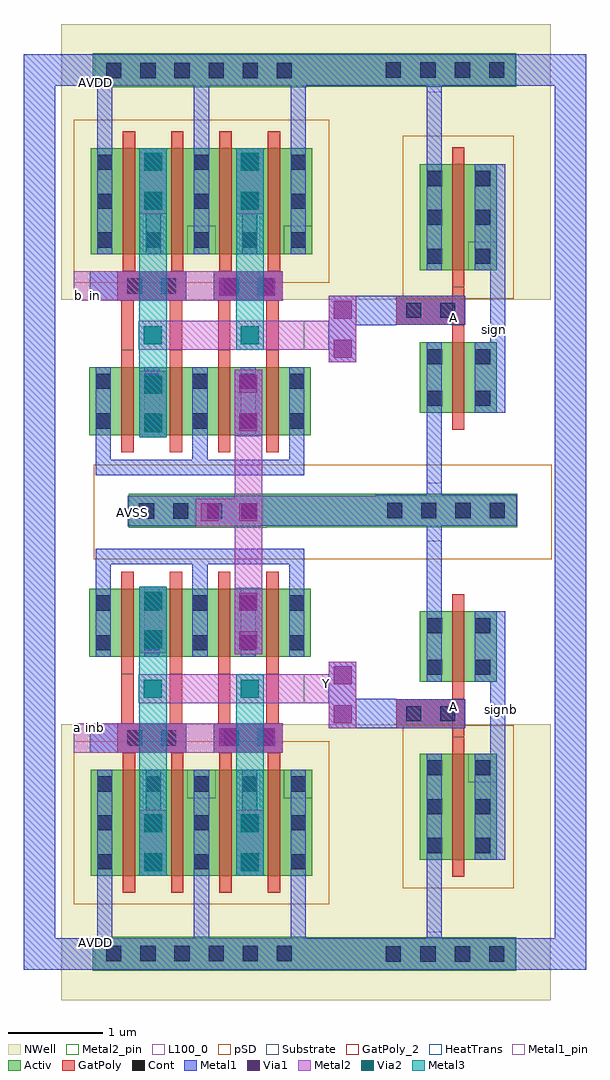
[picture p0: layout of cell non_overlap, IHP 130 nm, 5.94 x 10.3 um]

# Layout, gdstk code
import gdstk
lib = gdstk.Library(unit=1e-6, precision=1e-09)
def R(c, l, rs):  # rectangles x0, y0, x1, y1
    for r in rs: c.add(gdstk.rectangle(r[:2], r[2:], *l))
def A(c, l, x, y, w, h, nx, ny, dx, dy):  # array of equal rectangles
    R(c, l, [(x+i*dx, y+j*dy, x+i*dx+w, y+j*dy+h) for i in range(nx) for j in range(ny)])
Activ = (1, 0)
GatPoly = (5, 0)
GatPoly_2 = (5, 2)
Cont = (6, 0)
Metal1 = (8, 0)
Metal1_pin = (8, 2)
Metal2 = (10, 0)
Metal2_pin = (10, 2)
pSD = (14, 0)
Via1 = (19, 0)
Via2 = (29, 0)
Metal3 = (30, 0)
NWell = (31, 0)
Substrate = (40, 0)
HeatTrans = (51, 0)
L100_0 = (100, 0)

via_stack = lib.new_cell('via_stack')
R(via_stack, Metal1, [(-0.35,-0.145,0.35,0.145)])
R(via_stack, Metal2, [(-0.35,-0.145,0.35,0.145)])
R(via_stack, Via1, [(-0.3,-0.095,-0.11,0.095), (0.11,-0.095,0.3,0.095)])

via_stack_1 = lib.new_cell('via_stack$1')
R(via_stack_1, Metal1, [(-0.145,-0.35,0.145,0.35)])
R(via_stack_1, Metal2, [(-0.145,-0.35,0.145,0.35)])
R(via_stack_1, Via1, [(-0.095,-0.3,0.095,-0.11), (-0.095,0.11,0.095,0.3)])

via_stack_2 = lib.new_cell('via_stack$2')
R(via_stack_2, Metal1, [(-0.145,-0.35,0.145,0.35)])
R(via_stack_2, Metal2, [(-0.145,-0.35,0.145,0.35)])
R(via_stack_2, Via1, [(-0.095,-0.3,0.095,-0.11), (-0.095,0.11,0.095,0.3)])
R(via_stack_2, Via2, [(-0.095,-0.3,0.095,-0.11), (-0.095,0.11,0.095,0.3)])
R(via_stack_2, Metal3, [(-0.145,-0.35,0.145,0.35)])

via_stack_3 = lib.new_cell('via_stack$3')
R(via_stack_3, Metal2, [(-0.145,-0.145,0.145,0.145)])
R(via_stack_3, Via2, [(-0.095,-0.095,0.095,0.095)])
R(via_stack_3, Metal3, [(-0.145,-0.145,0.145,0.145)])

nmos = lib.new_cell('nmos')
A(nmos, Activ, 0, 0, 0.3, 0.3, 3, 1, 0.51, 0)
R(nmos, Activ, [(0,0,1.32,0.72)])
R(nmos, GatPoly, [(0.34,-0.18,0.47,0.9), (0.85,-0.18,0.98,0.9)])
R(nmos, GatPoly_2, [(0.34,-0.18,0.47,0.9)])
A(nmos, Cont, 0.07, 0.07, 0.16, 0.16, 3, 2, 0.51, 0.42)
A(nmos, Metal1, 0.07, 0, 0.16, 0.72, 3, 1, 0.51, 0)
R(nmos, Metal1_pin, [(0.07,0,0.23,0.72), (0.58,0,0.74,0.72)])
R(nmos, HeatTrans, [(0.34,-0.18,0.47,0.9), (0.85,-0.18,0.98,0.9)])
nmos.add(gdstk.Label('nmos', (0.405,0.36), layer=63, texttype=0))
nmos.add(gdstk.Label('nmos', (0.405,0.36), layer=51, texttype=0))
nmos.add(gdstk.Label('nmos', (0.915,0.36), layer=51, texttype=0))

pmos = lib.new_cell('pmos')
A(pmos, Activ, 0, 0, 0.3, 0.3, 3, 1, 0.51, 0)
R(pmos, Activ, [(0,0,1.32,1.12)])
R(pmos, GatPoly, [(0.34,-0.18,0.47,1.3), (0.34,-0.18,0.47,1.3), (0.85,-0.18,0.98,1.3)])
A(pmos, Cont, 0.07, 0.07, 0.16, 0.16, 3, 3, 0.51, 0.41)
R(pmos, Metal1, [(0.07,0,0.23,1.12), (0.07,0,0.23,1.12), (0.58,0,0.74,1.12), (0.58,0,0.74,1.12), (1.09,0,1.25,1.12)])
R(pmos, pSD, [(-0.18,-0.3,1.5,1.42)])
R(pmos, NWell, [(-0.31,-0.31,1.63,1.43)])
R(pmos, Substrate, [(1.02,0,1.32,0.3)])
R(pmos, HeatTrans, [(0.34,-0.18,0.47,1.3), (0.85,-0.18,0.98,1.3)])
pmos.add(gdstk.Label('pmos', (0.405,0.56), layer=63, texttype=0))
pmos.add(gdstk.Label('pmos', (0.405,0.56), layer=51, texttype=0))
pmos.add(gdstk.Label('pmos', (0.915,0.56), layer=51, texttype=0))

pmos_1 = lib.new_cell('pmos$1')
R(pmos_1, Activ, [(0,0,0.3,0.3), (0,0,0.81,1.12), (0.51,0,0.81,0.3)])
R(pmos_1, GatPoly, [(0.34,-0.18,0.47,1.3), (0.34,-0.18,0.47,1.3)])
A(pmos_1, Cont, 0.07, 0.07, 0.16, 0.16, 1, 3, 0, 0.41)
A(pmos_1, Cont, 0.58, 0.07, 0.16, 0.16, 1, 3, 0, 0.41)
R(pmos_1, Metal1, [(0.07,0,0.23,1.12), (0.07,0,0.23,1.12), (0.58,0,0.74,1.12), (0.58,0,0.74,1.12)])
R(pmos_1, pSD, [(-0.18,-0.3,0.99,1.42)])
R(pmos_1, NWell, [(-0.31,-0.31,1.12,1.43)])
R(pmos_1, Substrate, [(0.51,0,0.81,0.3)])
R(pmos_1, HeatTrans, [(0.34,-0.18,0.47,1.3)])
pmos_1.add(gdstk.Label('pmos', (0.405,0.56), layer=63, texttype=0))
pmos_1.add(gdstk.Label('pmos', (0.405,0.56), layer=51, texttype=0))

nmos_1 = lib.new_cell('nmos$1')
R(nmos_1, Activ, [(0,0,0.3,0.3), (0,0,0.81,0.74), (0.51,0,0.81,0.3)])
R(nmos_1, GatPoly, [(0.34,-0.18,0.47,0.92)])
R(nmos_1, GatPoly_2, [(0.34,-0.18,0.47,0.92)])
R(nmos_1, Cont, [(0.07,0.07,0.23,0.23), (0.58,0.07,0.74,0.23), (0.07,0.51,0.23,0.67), (0.58,0.51,0.74,0.67)])
R(nmos_1, Metal1, [(0.07,0,0.23,0.74), (0.58,0,0.74,0.74)])
R(nmos_1, Metal1_pin, [(0.07,0,0.23,0.74), (0.58,0,0.74,0.74)])
R(nmos_1, HeatTrans, [(0.34,-0.18,0.47,0.92)])
nmos_1.add(gdstk.Label('nmos', (0.405,0.37), layer=63, texttype=0))
nmos_1.add(gdstk.Label('nmos', (0.405,0.37), layer=51, texttype=0))

pmos_2 = lib.new_cell('pmos$2')
A(pmos_2, Activ, 0, 0, 0.3, 0.3, 3, 1, 0.51, 0)
R(pmos_2, Activ, [(0,0,1.32,1.12)])
R(pmos_2, GatPoly, [(0.34,-0.18,0.47,1.3), (0.34,-0.18,0.47,1.3), (0.85,-0.18,0.98,1.3)])
A(pmos_2, Cont, 0.07, 0.07, 0.16, 0.16, 3, 3, 0.51, 0.41)
R(pmos_2, Metal1, [(0.07,0,0.23,1.12), (0.07,0,0.23,1.12), (0.58,0,0.74,1.12), (0.58,0,0.74,1.12), (1.09,0,1.25,1.12)])
R(pmos_2, pSD, [(-0.18,-0.3,1.5,1.42)])
R(pmos_2, NWell, [(-0.31,-0.31,1.63,1.43)])
R(pmos_2, Substrate, [(1.02,0,1.32,0.3)])
R(pmos_2, HeatTrans, [(0.34,-0.18,0.47,1.3), (0.85,-0.18,0.98,1.3)])
pmos_2.add(gdstk.Label('pmos', (0.405,0.56), layer=63, texttype=0))
pmos_2.add(gdstk.Label('pmos', (0.405,0.56), layer=51, texttype=0))
pmos_2.add(gdstk.Label('pmos', (0.915,0.56), layer=51, texttype=0))

nmos_2 = lib.new_cell('nmos$2')
A(nmos_2, Activ, 0, 0, 0.3, 0.3, 3, 1, 0.51, 0)
R(nmos_2, Activ, [(0,0,1.32,0.72)])
R(nmos_2, GatPoly, [(0.34,-0.18,0.47,0.9), (0.85,-0.18,0.98,0.9)])
R(nmos_2, GatPoly_2, [(0.34,-0.18,0.47,0.9)])
A(nmos_2, Cont, 0.07, 0.07, 0.16, 0.16, 3, 2, 0.51, 0.42)
A(nmos_2, Metal1, 0.07, 0, 0.16, 0.72, 3, 1, 0.51, 0)
R(nmos_2, Metal1_pin, [(0.07,0,0.23,0.72), (0.58,0,0.74,0.72)])
R(nmos_2, HeatTrans, [(0.34,-0.18,0.47,0.9), (0.85,-0.18,0.98,0.9)])
nmos_2.add(gdstk.Label('nmos', (0.405,0.36), layer=63, texttype=0))
nmos_2.add(gdstk.Label('nmos', (0.405,0.36), layer=51, texttype=0))
nmos_2.add(gdstk.Label('nmos', (0.915,0.36), layer=51, texttype=0))

via_stack_4 = lib.new_cell('via_stack$4')
R(via_stack_4, Metal1, [(-0.35,-0.145,0.35,0.145)])
R(via_stack_4, Metal2, [(-0.35,-0.145,0.35,0.145)])
R(via_stack_4, Via1, [(-0.3,-0.095,-0.11,0.095), (0.11,-0.095,0.3,0.095)])

via_stack_6 = lib.new_cell('via_stack$6')
R(via_stack_6, Metal1, [(-0.145,-0.35,0.145,0.35)])
R(via_stack_6, Metal2, [(-0.145,-0.35,0.145,0.35)])
R(via_stack_6, Via1, [(-0.095,-0.3,0.095,-0.11), (-0.095,0.11,0.095,0.3)])
R(via_stack_6, Via2, [(-0.095,-0.3,0.095,-0.11), (-0.095,0.11,0.095,0.3)])
R(via_stack_6, Metal3, [(-0.145,-0.35,0.145,0.35)])

via_stack_7 = lib.new_cell('via_stack$7')
R(via_stack_7, Metal2, [(-0.145,-0.145,0.145,0.145)])
R(via_stack_7, Via2, [(-0.095,-0.095,0.095,0.095)])
R(via_stack_7, Metal3, [(-0.145,-0.145,0.145,0.145)])

via_stack_5 = lib.new_cell('via_stack$5')
R(via_stack_5, Metal1, [(-0.145,-0.35,0.145,0.35)])
R(via_stack_5, Metal2, [(-0.145,-0.35,0.145,0.35)])
R(via_stack_5, Via1, [(-0.095,-0.3,0.095,-0.11), (-0.095,0.11,0.095,0.3)])

non_overlap = lib.new_cell('non_overlap')
R(non_overlap, Activ, [(-0.425,-7.525,4.045,-7.175), (2.55,-7.525,4.045,-7.175), (-0.425,-7.52,1.83,-7.17), (-0.425,-7.52,1.83,-7.17), (-0.04,-2.85,0.33,-2.5), (-0.04,-2.85,0.33,-2.5), (0.32,-2.85,0.69,-2.5), (0.32,-2.85,0.69,-2.5), (0.68,-2.85,1.05,-2.5), (0.68,-2.85,1.05,-2.5), (1.04,-2.85,1.41,-2.5), (1.04,-2.85,1.41,-2.5), (-0.04,-2.845,4.055,-2.495), (2.555,-2.845,4.055,-2.495), (-0.425,1.8,1.83,2.15), (-0.425,1.8,1.83,2.15), (-0.425,1.805,4.045,2.155), (2.55,1.805,4.045,2.155)])
R(non_overlap, GatPoly, [(-0.165,-5.225,0.205,-4.915), (-0.165,-5.225,0.205,-4.915), (0.195,-5.225,0.565,-4.915), (0.195,-5.225,0.565,-4.915), (0.855,-5.225,1.225,-4.915), (0.855,-5.225,1.225,-4.915), (1.215,-5.225,1.585,-4.915), (1.215,-5.225,1.585,-4.915), (2.78,-4.965,3.149,-4.66), (2.78,-4.965,3.149,-4.66), (3.139,-4.965,3.51,-4.66), (3.139,-4.965,3.51,-4.66), (2.78,-0.71,3.149,-0.405), (2.78,-0.71,3.149,-0.405), (3.139,-0.71,3.51,-0.405), (3.139,-0.71,3.51,-0.405), (-0.165,-0.455,0.205,-0.145), (-0.165,-0.455,0.205,-0.145), (0.195,-0.455,0.565,-0.145), (0.195,-0.455,0.565,-0.145), (0.855,-0.455,1.225,-0.145), (0.855,-0.455,1.225,-0.145), (1.215,-0.455,1.585,-0.145), (1.215,-0.455,1.585,-0.145)])
R(non_overlap, GatPoly_2, [(3.37,-6.535,3.5,-3.555), (3.37,-6.535,3.5,-3.555), (3.37,-1.815,3.5,1.165), (3.37,-1.815,3.5,1.165)])
R(non_overlap, Cont, [(2.67,-7.43,2.83,-7.27), (2.67,-7.43,2.83,-7.27), (3.035,-7.43,3.195,-7.27), (3.035,-7.43,3.195,-7.27), (3.4,-7.43,3.56,-7.27), (3.4,-7.43,3.56,-7.27), (3.76,-7.43,3.92,-7.27), (3.76,-7.43,3.92,-7.27), (-0.28,-7.425,-0.12,-7.265), (-0.28,-7.425,-0.12,-7.265), (0.08,-7.425,0.24,-7.265), (0.08,-7.425,0.24,-7.265), (0.44,-7.425,0.6,-7.265), (0.44,-7.425,0.6,-7.265), (0.8,-7.425,0.96,-7.265), (0.8,-7.425,0.96,-7.265), (1.16,-7.425,1.32,-7.265), (1.16,-7.425,1.32,-7.265), (1.52,-7.425,1.68,-7.265), (1.52,-7.425,1.68,-7.265), (-0.06,-5.15,0.1,-4.99), (-0.06,-5.15,0.1,-4.99), (0.3,-5.15,0.46,-4.99), (0.3,-5.15,0.46,-4.99), (0.96,-5.15,1.12,-4.99), (0.96,-5.15,1.12,-4.99), (1.32,-5.15,1.48,-4.99), (1.32,-5.15,1.48,-4.99), (2.885,-4.895,3.045,-4.735), (2.885,-4.895,3.045,-4.735), (3.245,-4.895,3.405,-4.735), (3.245,-4.895,3.405,-4.735), (0.065,-2.755,0.225,-2.595), (0.065,-2.755,0.225,-2.595), (0.425,-2.755,0.585,-2.595), (0.425,-2.755,0.585,-2.595), (0.785,-2.755,0.945,-2.595), (0.785,-2.755,0.945,-2.595), (1.145,-2.755,1.305,-2.595), (1.145,-2.755,1.305,-2.595), (2.685,-2.75,2.845,-2.59), (2.685,-2.75,2.845,-2.59), (3.045,-2.75,3.205,-2.59), (3.045,-2.75,3.205,-2.59), (3.405,-2.75,3.565,-2.59), (3.405,-2.75,3.565,-2.59), (3.765,-2.75,3.925,-2.59), (3.765,-2.75,3.925,-2.59), (2.885,-0.635,3.045,-0.475), (2.885,-0.635,3.045,-0.475), (3.245,-0.635,3.405,-0.475), (3.245,-0.635,3.405,-0.475), (-0.06,-0.38,0.1,-0.22), (-0.06,-0.38,0.1,-0.22), (0.3,-0.38,0.46,-0.22), (0.3,-0.38,0.46,-0.22), (0.96,-0.38,1.12,-0.22), (0.96,-0.38,1.12,-0.22), (1.32,-0.38,1.48,-0.22), (1.32,-0.38,1.48,-0.22), (-0.28,1.895,-0.12,2.055), (-0.28,1.895,-0.12,2.055), (0.08,1.895,0.24,2.055), (0.08,1.895,0.24,2.055), (0.44,1.895,0.6,2.055), (0.44,1.895,0.6,2.055), (0.8,1.895,0.96,2.055), (0.8,1.895,0.96,2.055), (1.16,1.895,1.32,2.055), (1.16,1.895,1.32,2.055), (1.52,1.895,1.68,2.055), (1.52,1.895,1.68,2.055), (2.67,1.9,2.83,2.06), (2.67,1.9,2.83,2.06), (3.035,1.9,3.195,2.06), (3.035,1.9,3.195,2.06), (3.4,1.9,3.56,2.06), (3.4,1.9,3.56,2.06), (3.76,1.9,3.92,2.06), (3.76,1.9,3.92,2.06)])
R(non_overlap, Metal1, [(-0.4,-7.515,4.035,-7.185), (2.56,-7.515,4.035,-7.19), (-0.4,-7.505,1.825,-7.185), (-0.4,-7.505,1.825,-7.185), (3.77,-6.355,3.93,-3.735), (3.77,-6.355,3.93,-3.735), (-0.165,-5.225,0.205,-4.915), (-0.165,-5.225,0.205,-4.915), (0.195,-5.225,0.565,-4.915), (0.195,-5.225,0.565,-4.915), (0.855,-5.225,1.225,-4.915), (0.855,-5.225,1.225,-4.915), (1.215,-5.225,1.585,-4.915), (1.215,-5.225,1.585,-4.915), (2.78,-4.965,3.149,-4.66), (2.78,-4.965,3.149,-4.66), (3.139,-4.965,3.51,-4.66), (3.139,-4.965,3.51,-4.66), (-0.055,-2.835,0.345,-2.515), (-0.055,-2.835,0.345,-2.515), (0.305,-2.835,0.705,-2.515), (0.305,-2.835,0.705,-2.515), (0.665,-2.835,1.065,-2.515), (0.665,-2.835,1.065,-2.515), (-0.055,-2.83,4.05,-2.515), (1.025,-2.83,1.425,-2.515), (1.025,-2.83,1.425,-2.515), (2.565,-2.83,4.05,-2.505), (2.924,-2.83,3.324,-2.511), (2.924,-2.83,3.324,-2.511), (3.284,-2.83,3.684,-2.511), (3.284,-2.83,3.684,-2.511), (3.644,-2.83,4.045,-2.511), (3.644,-2.83,4.045,-2.511), (3.77,-1.635,3.93,0.985), (3.77,-1.635,3.93,0.985), (2.78,-0.71,3.149,-0.405), (2.78,-0.71,3.149,-0.405), (3.139,-0.71,3.51,-0.405), (3.139,-0.71,3.51,-0.405), (-0.165,-0.455,0.205,-0.145), (-0.165,-0.455,0.205,-0.145), (0.195,-0.455,0.565,-0.145), (0.195,-0.455,0.565,-0.145), (0.855,-0.455,1.225,-0.145), (0.855,-0.455,1.225,-0.145), (1.215,-0.455,1.585,-0.145), (1.215,-0.455,1.585,-0.145), (-0.4,1.815,1.825,2.135), (-0.4,1.815,1.825,2.135), (-0.4,1.82,4.035,2.145), (2.56,1.82,4.035,2.145)])
R(non_overlap, Metal1_pin, [(-0.4,-7.515,4.035,-7.185), (-0.4,-7.505,1.825,-7.185), (-0.4,-7.505,1.825,-7.185), (3.1,-7.119,3.26,-5.235), (3.1,-7.119,3.26,-5.235), (3.77,-6.355,3.93,-3.735), (3.77,-6.355,3.93,-3.735), (3.77,-6.354,3.93,-3.735), (3.77,-6.354,3.93,-3.735), (-0.45,-5.225,0.565,-4.915), (-0.45,-5.225,0.565,-4.915), (3.1,-4.474,3.26,-2.989), (3.1,-4.474,3.26,-2.989), (-0.055,-2.83,4.05,-2.515), (3.1,-2.381,3.26,-0.896), (3.1,-2.381,3.26,-0.896), (3.77,-1.635,3.93,0.984), (3.77,-1.635,3.93,0.984), (3.77,-1.635,3.93,0.985), (3.77,-1.635,3.93,0.985), (3.77,-1.635,3.93,0.985), (-0.45,-0.455,0.565,-0.145), (-0.45,-0.455,0.565,-0.145), (3.1,-0.135,3.26,1.749), (3.1,-0.135,3.26,1.749), (-0.4,1.815,1.825,2.135), (-0.4,1.815,1.825,2.135), (-0.4,1.82,4.035,2.145)])
R(non_overlap, Metal2_pin, [(-0.625,-5.225,-0.45,-4.915), (-0.625,-5.225,-0.45,-4.915), (1.805,-4.705,2.07,-4.395), (1.805,-4.705,2.07,-4.395), (1.805,-0.975,2.07,-0.665), (1.805,-0.975,2.07,-0.665), (-0.625,-0.455,-0.45,-0.145), (-0.625,-0.455,-0.45,-0.145)])
R(non_overlap, pSD, [(-0.41,-3.185,0.72,-2.185), (-0.41,-3.185,0.72,-2.185), (-0.41,-3.185,4.42,-2.185), (-0.41,-3.185,4.42,-2.185), (-0.41,-3.185,4.42,-2.185), (-0.41,-3.185,4.42,-2.185), (-0.05,-3.185,1.08,-2.185), (-0.05,-3.185,1.08,-2.185), (0.31,-3.185,1.44,-2.185), (0.31,-3.185,1.44,-2.185), (0.67,-3.185,1.8,-2.185), (0.67,-3.185,1.8,-2.185)])
R(non_overlap, NWell, [(-0.755,-7.835,2.205,-6.835), (-0.755,-7.835,2.205,-6.835), (-0.755,-7.835,4.41,-4.925), (-0.755,-7.835,4.41,-4.925), (-0.755,-0.445,4.41,2.465), (-0.755,-0.445,4.41,2.465), (-0.755,1.465,2.205,2.465), (-0.755,1.465,2.205,2.465)])
R(non_overlap, L100_0, [(3.108,-6.285,3.27,-6.123), (3.108,-6.285,3.27,-6.123), (3.108,-6.285,3.27,-6.123), (3.108,-6.285,3.27,-6.123), (3.618,-6.285,3.78,-6.123), (3.618,-6.285,3.78,-6.123), (3.618,-6.285,3.78,-6.123), (3.618,-6.285,3.78,-6.123), (3.108,-5.875,3.27,-5.713), (3.108,-5.875,3.27,-5.713), (3.108,-5.875,3.27,-5.713), (3.108,-5.875,3.27,-5.713), (3.618,-5.875,3.78,-5.713), (3.618,-5.875,3.78,-5.713), (3.618,-5.875,3.78,-5.713), (3.618,-5.875,3.78,-5.713), (3.108,-5.465,3.27,-5.303), (3.108,-5.465,3.27,-5.303), (3.108,-5.465,3.27,-5.303), (3.108,-5.465,3.27,-5.303), (3.618,-5.465,3.78,-5.303), (3.618,-5.465,3.78,-5.303), (3.618,-5.465,3.78,-5.303), (3.618,-5.465,3.78,-5.303), (3.108,-4.405,3.27,-4.243), (3.108,-4.405,3.27,-4.243), (3.108,-4.405,3.27,-4.243), (3.108,-4.405,3.27,-4.243), (3.618,-4.405,3.78,-4.243), (3.618,-4.405,3.78,-4.243), (3.618,-4.405,3.78,-4.243), (3.618,-4.405,3.78,-4.243), (3.108,-3.965,3.27,-3.803), (3.108,-3.965,3.27,-3.803), (3.108,-3.965,3.27,-3.803), (3.108,-3.965,3.27,-3.803), (3.618,-3.965,3.78,-3.803), (3.618,-3.965,3.78,-3.803), (3.618,-3.965,3.78,-3.803), (3.618,-3.965,3.78,-3.803), (3.108,-1.567,3.27,-1.405), (3.108,-1.567,3.27,-1.405), (3.108,-1.567,3.27,-1.405), (3.108,-1.567,3.27,-1.405), (3.618,-1.567,3.78,-1.405), (3.618,-1.567,3.78,-1.405), (3.618,-1.567,3.78,-1.405), (3.618,-1.567,3.78,-1.405), (3.108,-1.127,3.27,-0.965), (3.108,-1.127,3.27,-0.965), (3.108,-1.127,3.27,-0.965), (3.108,-1.127,3.27,-0.965), (3.618,-1.127,3.78,-0.965), (3.618,-1.127,3.78,-0.965), (3.618,-1.127,3.78,-0.965), (3.618,-1.127,3.78,-0.965), (3.108,-0.067,3.27,0.095), (3.108,-0.067,3.27,0.095), (3.108,-0.067,3.27,0.095), (3.108,-0.067,3.27,0.095), (3.618,-0.067,3.78,0.095), (3.618,-0.067,3.78,0.095), (3.618,-0.067,3.78,0.095), (3.618,-0.067,3.78,0.095), (3.108,0.343,3.27,0.505), (3.108,0.343,3.27,0.505), (3.108,0.343,3.27,0.505), (3.108,0.343,3.27,0.505), (3.618,0.343,3.78,0.505), (3.618,0.343,3.78,0.505), (3.618,0.343,3.78,0.505), (3.618,0.343,3.78,0.505), (3.108,0.753,3.27,0.915), (3.108,0.753,3.27,0.915), (3.108,0.753,3.27,0.915), (3.108,0.753,3.27,0.915), (3.618,0.753,3.78,0.915), (3.618,0.753,3.78,0.915), (3.618,0.753,3.78,0.915), (3.618,0.753,3.78,0.915)])
non_overlap.add(gdstk.FlexPath([(-0.055,-0.975),(-0.055,-0.445)], 0.13, ends="flush", simple_path=True, layer=5, datatype=0))  # GatPoly
non_overlap.add(gdstk.FlexPath([(0.455,-0.975),(0.455,-0.455)], 0.13, ends="flush", simple_path=True, layer=5, datatype=0))  # GatPoly
non_overlap.add(gdstk.FlexPath([(0.965,-0.975),(0.965,-0.445)], 0.13, ends="flush", simple_path=True, layer=5, datatype=0))  # GatPoly
non_overlap.add(gdstk.FlexPath([(1.475,-0.975),(1.475,-0.455)], 0.13, ends="flush", simple_path=True, layer=5, datatype=0))  # GatPoly
non_overlap.add(gdstk.FlexPath([(3.435,-0.715),(3.435,-0.31)], 0.13, ends="flush", simple_path=True, layer=5, datatype=0))  # GatPoly
non_overlap.add(gdstk.FlexPath([(3.435,-0.715),(3.435,-0.31)], 0.13, ends="flush", simple_path=True, layer=5, datatype=0))  # GatPoly
non_overlap.add(gdstk.FlexPath([(1.475,-0.975),(1.475,-0.455)], 0.13, ends="flush", simple_path=True, layer=5, datatype=0))  # GatPoly
non_overlap.add(gdstk.FlexPath([(0.965,-0.975),(0.965,-0.445)], 0.13, ends="flush", simple_path=True, layer=5, datatype=0))  # GatPoly
non_overlap.add(gdstk.FlexPath([(0.455,-0.975),(0.455,-0.455)], 0.13, ends="flush", simple_path=True, layer=5, datatype=0))  # GatPoly
non_overlap.add(gdstk.FlexPath([(-0.055,-0.975),(-0.055,-0.445)], 0.13, ends="flush", simple_path=True, layer=5, datatype=0))  # GatPoly
non_overlap.add(gdstk.FlexPath([(-0.055,-4.395),(-0.055,-4.925)], 0.13, ends="flush", simple_path=True, layer=5, datatype=0))  # GatPoly
non_overlap.add(gdstk.FlexPath([(0.455,-4.395),(0.455,-4.915)], 0.13, ends="flush", simple_path=True, layer=5, datatype=0))  # GatPoly
non_overlap.add(gdstk.FlexPath([(0.965,-4.395),(0.965,-4.925)], 0.13, ends="flush", simple_path=True, layer=5, datatype=0))  # GatPoly
non_overlap.add(gdstk.FlexPath([(1.475,-4.395),(1.475,-4.915)], 0.13, ends="flush", simple_path=True, layer=5, datatype=0))  # GatPoly
non_overlap.add(gdstk.FlexPath([(3.435,-4.655),(3.435,-5.06)], 0.13, ends="flush", simple_path=True, layer=5, datatype=0))  # GatPoly
non_overlap.add(gdstk.FlexPath([(3.435,-4.655),(3.435,-5.06)], 0.13, ends="flush", simple_path=True, layer=5, datatype=0))  # GatPoly
non_overlap.add(gdstk.FlexPath([(1.475,-4.395),(1.475,-4.915)], 0.13, ends="flush", simple_path=True, layer=5, datatype=0))  # GatPoly
non_overlap.add(gdstk.FlexPath([(0.965,-4.395),(0.965,-4.925)], 0.13, ends="flush", simple_path=True, layer=5, datatype=0))  # GatPoly
non_overlap.add(gdstk.FlexPath([(0.455,-4.395),(0.455,-4.915)], 0.13, ends="flush", simple_path=True, layer=5, datatype=0))  # GatPoly
non_overlap.add(gdstk.FlexPath([(-0.055,-4.395),(-0.055,-4.925)], 0.13, ends="flush", simple_path=True, layer=5, datatype=0))  # GatPoly
non_overlap.add(gdstk.FlexPath([(-0.4,-7.35),(-0.985,-7.35),(-0.985,1.98),(-0.4,1.98)], 0.33, ends="flush", simple_path=True, layer=8, datatype=0))  # Metal1
non_overlap.add(gdstk.FlexPath([(4.035,-7.35),(4.62,-7.35),(4.62,1.98),(-0.755,1.98)], 0.33, ends="flush", simple_path=True, layer=8, datatype=0))  # Metal1
non_overlap.add(gdstk.FlexPath([(0.565,-0.3),(-0.45,-0.3)], 0.31, ends="flush", simple_path=True, layer=8, datatype=0))  # Metal1
non_overlap.add(gdstk.FlexPath([(-0.295,0.035),(-0.295,2.135)], 0.16, ends="flush", simple_path=True, layer=8, datatype=0))  # Metal1
non_overlap.add(gdstk.FlexPath([(0.725,0.035),(0.725,2.135)], 0.16, ends="flush", simple_path=True, layer=8, datatype=0))  # Metal1
non_overlap.add(gdstk.FlexPath([(1.745,0.035),(1.745,2.135)], 0.16, ends="flush", simple_path=True, layer=8, datatype=0))  # Metal1
non_overlap.add(gdstk.FlexPath([(-0.39,-2.215),(1.81,-2.215)], 0.16, ends="flush", simple_path=True, layer=8, datatype=0))  # Metal1
non_overlap.add(gdstk.FlexPath([(1.73,-1.875),(1.73,-2.295)], 0.16, ends="flush", simple_path=True, layer=8, datatype=0))  # Metal1
non_overlap.add(gdstk.FlexPath([(0.71,-1.875),(0.71,-2.295)], 0.16, ends="flush", simple_path=True, layer=8, datatype=0))  # Metal1
non_overlap.add(gdstk.FlexPath([(-0.31,-1.875),(-0.31,-2.295)], 0.16, ends="flush", simple_path=True, layer=8, datatype=0))  # Metal1
non_overlap.add(gdstk.FlexPath([(3.18,-2.38),(3.18,-2.83)], 0.16, ends="flush", simple_path=True, layer=8, datatype=0))  # Metal1
non_overlap.add(gdstk.FlexPath([(3.18,1.75),(3.18,0.985)], 0.16, ends="flush", simple_path=True, layer=8, datatype=0))  # Metal1
non_overlap.add(gdstk.FlexPath([(3.18,-1.615),(3.18,-2.38)], 0.16, ends="flush", simple_path=True, layer=8, datatype=0))  # Metal1
non_overlap.add(gdstk.FlexPath([(3.18,-1.615),(3.18,-2.38)], 0.16, ends="flush", simple_path=True, layer=8, datatype=0))  # Metal1
non_overlap.add(gdstk.FlexPath([(3.18,1.735),(3.18,2.1)], 0.16, ends="flush", simple_path=True, layer=8, datatype=0))  # Metal1
non_overlap.add(gdstk.FlexPath([(3.18,1.735),(3.18,2.1)], 0.16, ends="flush", simple_path=True, layer=8, datatype=0))  # Metal1
non_overlap.add(gdstk.FlexPath([(3.18,-1.615),(3.18,-2.38)], 0.16, ends="flush", simple_path=True, layer=8, datatype=0))  # Metal1
non_overlap.add(gdstk.FlexPath([(3.18,-1.615),(3.18,-2.38)], 0.16, ends="flush", simple_path=True, layer=8, datatype=0))  # Metal1
non_overlap.add(gdstk.FlexPath([(3.18,1.75),(3.18,0.985)], 0.16, ends="flush", simple_path=True, layer=8, datatype=0))  # Metal1
non_overlap.add(gdstk.FlexPath([(3.18,-2.38),(3.18,-2.83)], 0.16, ends="flush", simple_path=True, layer=8, datatype=0))  # Metal1
non_overlap.add(gdstk.FlexPath([(-0.31,-1.875),(-0.31,-2.295)], 0.16, ends="flush", simple_path=True, layer=8, datatype=0))  # Metal1
non_overlap.add(gdstk.FlexPath([(0.71,-1.875),(0.71,-2.295)], 0.16, ends="flush", simple_path=True, layer=8, datatype=0))  # Metal1
non_overlap.add(gdstk.FlexPath([(1.73,-1.875),(1.73,-2.295)], 0.16, ends="flush", simple_path=True, layer=8, datatype=0))  # Metal1
non_overlap.add(gdstk.FlexPath([(-0.39,-2.215),(1.81,-2.215)], 0.16, ends="flush", simple_path=True, layer=8, datatype=0))  # Metal1
non_overlap.add(gdstk.FlexPath([(1.745,0.035),(1.745,2.135)], 0.16, ends="flush", simple_path=True, layer=8, datatype=0))  # Metal1
non_overlap.add(gdstk.FlexPath([(0.725,0.035),(0.725,2.135)], 0.16, ends="flush", simple_path=True, layer=8, datatype=0))  # Metal1
non_overlap.add(gdstk.FlexPath([(-0.295,0.035),(-0.295,2.135)], 0.16, ends="flush", simple_path=True, layer=8, datatype=0))  # Metal1
non_overlap.add(gdstk.FlexPath([(0.565,-0.3),(-0.45,-0.3)], 0.31, ends="flush", simple_path=True, layer=8, datatype=0))  # Metal1
non_overlap.add(gdstk.FlexPath([(0.565,-5.07),(-0.45,-5.07)], 0.31, ends="flush", simple_path=True, layer=8, datatype=0))  # Metal1
non_overlap.add(gdstk.FlexPath([(-0.295,-5.405),(-0.295,-7.505)], 0.16, ends="flush", simple_path=True, layer=8, datatype=0))  # Metal1
non_overlap.add(gdstk.FlexPath([(0.725,-5.405),(0.725,-7.505)], 0.16, ends="flush", simple_path=True, layer=8, datatype=0))  # Metal1
non_overlap.add(gdstk.FlexPath([(1.745,-5.405),(1.745,-7.505)], 0.16, ends="flush", simple_path=True, layer=8, datatype=0))  # Metal1
non_overlap.add(gdstk.FlexPath([(-0.39,-3.155),(1.81,-3.155)], 0.16, ends="flush", simple_path=True, layer=8, datatype=0))  # Metal1
non_overlap.add(gdstk.FlexPath([(1.73,-3.495),(1.73,-3.075)], 0.16, ends="flush", simple_path=True, layer=8, datatype=0))  # Metal1
non_overlap.add(gdstk.FlexPath([(0.71,-3.495),(0.71,-3.075)], 0.16, ends="flush", simple_path=True, layer=8, datatype=0))  # Metal1
non_overlap.add(gdstk.FlexPath([(-0.31,-3.495),(-0.31,-3.075)], 0.16, ends="flush", simple_path=True, layer=8, datatype=0))  # Metal1
non_overlap.add(gdstk.FlexPath([(3.18,-2.99),(3.18,-2.54)], 0.16, ends="flush", simple_path=True, layer=8, datatype=0))  # Metal1
non_overlap.add(gdstk.FlexPath([(3.18,-7.12),(3.18,-6.355)], 0.16, ends="flush", simple_path=True, layer=8, datatype=0))  # Metal1
non_overlap.add(gdstk.FlexPath([(3.18,-3.755),(3.18,-2.99)], 0.16, ends="flush", simple_path=True, layer=8, datatype=0))  # Metal1
non_overlap.add(gdstk.FlexPath([(3.18,-3.755),(3.18,-2.99)], 0.16, ends="flush", simple_path=True, layer=8, datatype=0))  # Metal1
non_overlap.add(gdstk.FlexPath([(3.18,-7.105),(3.18,-7.47)], 0.16, ends="flush", simple_path=True, layer=8, datatype=0))  # Metal1
non_overlap.add(gdstk.FlexPath([(3.18,-7.105),(3.18,-7.47)], 0.16, ends="flush", simple_path=True, layer=8, datatype=0))  # Metal1
non_overlap.add(gdstk.FlexPath([(3.18,-3.755),(3.18,-2.99)], 0.16, ends="flush", simple_path=True, layer=8, datatype=0))  # Metal1
non_overlap.add(gdstk.FlexPath([(3.18,-3.755),(3.18,-2.99)], 0.16, ends="flush", simple_path=True, layer=8, datatype=0))  # Metal1
non_overlap.add(gdstk.FlexPath([(3.18,-7.12),(3.18,-6.355)], 0.16, ends="flush", simple_path=True, layer=8, datatype=0))  # Metal1
non_overlap.add(gdstk.FlexPath([(3.18,-2.99),(3.18,-2.54)], 0.16, ends="flush", simple_path=True, layer=8, datatype=0))  # Metal1
non_overlap.add(gdstk.FlexPath([(-0.31,-3.495),(-0.31,-3.075)], 0.16, ends="flush", simple_path=True, layer=8, datatype=0))  # Metal1
non_overlap.add(gdstk.FlexPath([(0.71,-3.495),(0.71,-3.075)], 0.16, ends="flush", simple_path=True, layer=8, datatype=0))  # Metal1
non_overlap.add(gdstk.FlexPath([(1.73,-3.495),(1.73,-3.075)], 0.16, ends="flush", simple_path=True, layer=8, datatype=0))  # Metal1
non_overlap.add(gdstk.FlexPath([(-0.39,-3.155),(1.81,-3.155)], 0.16, ends="flush", simple_path=True, layer=8, datatype=0))  # Metal1
non_overlap.add(gdstk.FlexPath([(1.745,-5.405),(1.745,-7.505)], 0.16, ends="flush", simple_path=True, layer=8, datatype=0))  # Metal1
non_overlap.add(gdstk.FlexPath([(0.725,-5.405),(0.725,-7.505)], 0.16, ends="flush", simple_path=True, layer=8, datatype=0))  # Metal1
non_overlap.add(gdstk.FlexPath([(-0.295,-5.405),(-0.295,-7.505)], 0.16, ends="flush", simple_path=True, layer=8, datatype=0))  # Metal1
non_overlap.add(gdstk.FlexPath([(0.565,-5.07),(-0.45,-5.07)], 0.31, ends="flush", simple_path=True, layer=8, datatype=0))  # Metal1
non_overlap.add(gdstk.FlexPath([(2.78,-0.56),(2.07,-0.56)], 0.31, ends="flush", simple_path=True, layer=8, datatype=0))  # Metal1
non_overlap.add(gdstk.FlexPath([(2.78,-4.81),(2.07,-4.81)], 0.31, ends="flush", simple_path=True, layer=8, datatype=0))  # Metal1
non_overlap.add(gdstk.FlexPath([(1.585,-0.3),(-0.625,-0.3)], 0.31, ends="flush", simple_path=True, layer=10, datatype=0))  # Metal2
non_overlap.add(gdstk.FlexPath([(2.07,-0.82),(0.065,-0.82)], 0.31, ends="flush", simple_path=True, layer=10, datatype=0))  # Metal2
non_overlap.add(gdstk.FlexPath([(1.22,-1.185),(1.22,-2.835)], 0.29, ends="flush", simple_path=True, layer=10, datatype=0))  # Metal2
non_overlap.add(gdstk.FlexPath([(1.22,-1.185),(1.22,-2.835)], 0.29, ends="flush", simple_path=True, layer=10, datatype=0))  # Metal2
non_overlap.add(gdstk.FlexPath([(2.07,-0.82),(0.065,-0.82)], 0.31, ends="flush", simple_path=True, layer=10, datatype=0))  # Metal2
non_overlap.add(gdstk.FlexPath([(1.585,-0.3),(-0.625,-0.3)], 0.31, ends="flush", simple_path=True, layer=10, datatype=0))  # Metal2
non_overlap.add(gdstk.FlexPath([(1.585,-5.07),(-0.625,-5.07)], 0.31, ends="flush", simple_path=True, layer=10, datatype=0))  # Metal2
non_overlap.add(gdstk.FlexPath([(2.07,-4.55),(0.065,-4.55)], 0.31, ends="flush", simple_path=True, layer=10, datatype=0))  # Metal2
non_overlap.add(gdstk.FlexPath([(1.22,-4.185),(1.22,-2.535)], 0.29, ends="flush", simple_path=True, layer=10, datatype=0))  # Metal2
non_overlap.add(gdstk.FlexPath([(1.22,-4.185),(1.22,-2.535)], 0.29, ends="flush", simple_path=True, layer=10, datatype=0))  # Metal2
non_overlap.add(gdstk.FlexPath([(2.07,-4.55),(0.065,-4.55)], 0.31, ends="flush", simple_path=True, layer=10, datatype=0))  # Metal2
non_overlap.add(gdstk.FlexPath([(1.585,-5.07),(-0.625,-5.07)], 0.31, ends="flush", simple_path=True, layer=10, datatype=0))  # Metal2
non_overlap.add(gdstk.FlexPath([(0.215,1.155),(0.215,-0.975)], 0.29, ends="flush", simple_path=True, layer=30, datatype=0))  # Metal3
non_overlap.add(gdstk.FlexPath([(1.235,1.155),(1.235,-0.975)], 0.29, ends="flush", simple_path=True, layer=30, datatype=0))  # Metal3
non_overlap.add(gdstk.FlexPath([(0.215,-1.875),(0.215,-0.665)], 0.29, ends="flush", simple_path=True, layer=30, datatype=0))  # Metal3
non_overlap.add(gdstk.FlexPath([(0.215,-1.875),(0.215,-0.665)], 0.29, ends="flush", simple_path=True, layer=30, datatype=0))  # Metal3
non_overlap.add(gdstk.FlexPath([(1.235,1.155),(1.235,-0.975)], 0.29, ends="flush", simple_path=True, layer=30, datatype=0))  # Metal3
non_overlap.add(gdstk.FlexPath([(0.215,1.155),(0.215,-0.975)], 0.29, ends="flush", simple_path=True, layer=30, datatype=0))  # Metal3
non_overlap.add(gdstk.FlexPath([(0.215,-6.525),(0.215,-4.395)], 0.29, ends="flush", simple_path=True, layer=30, datatype=0))  # Metal3
non_overlap.add(gdstk.FlexPath([(1.235,-6.525),(1.235,-4.395)], 0.29, ends="flush", simple_path=True, layer=30, datatype=0))  # Metal3
non_overlap.add(gdstk.FlexPath([(0.215,-3.495),(0.215,-4.705)], 0.29, ends="flush", simple_path=True, layer=30, datatype=0))  # Metal3
non_overlap.add(gdstk.FlexPath([(0.215,-3.495),(0.215,-4.705)], 0.29, ends="flush", simple_path=True, layer=30, datatype=0))  # Metal3
non_overlap.add(gdstk.FlexPath([(1.235,-6.525),(1.235,-4.395)], 0.29, ends="flush", simple_path=True, layer=30, datatype=0))  # Metal3
non_overlap.add(gdstk.FlexPath([(0.215,-6.525),(0.215,-4.395)], 0.29, ends="flush", simple_path=True, layer=30, datatype=0))  # Metal3
non_overlap.add(gdstk.Reference(via_stack, (1.015,-2.69)))
non_overlap.add(gdstk.Reference(via_stack_1, (1.22,-1.535)))
non_overlap.add(gdstk.Reference(via_stack_2, (0.215,-1.545)))
non_overlap.add(gdstk.Reference(via_stack_3, (0.21,-0.82)))
non_overlap.add(gdstk.Reference(via_stack_3, (1.235,-0.82)))
non_overlap.add(gdstk.Reference(via_stack_2, (1.235,0.805)))
non_overlap.add(gdstk.Reference(via_stack_2, (0.215,0.805)))
non_overlap.add(gdstk.Reference(via_stack, (1.205,-0.31)))
non_overlap.add(gdstk.Reference(nmos, (0.56,-1.875)))
non_overlap.add(gdstk.Reference(pmos, (0.575,0.035)))
non_overlap.add(gdstk.Reference(nmos, (-0.46,-1.875)))
non_overlap.add(gdstk.Reference(pmos, (-0.445,0.035)))
non_overlap.add(gdstk.Reference(pmos, (-0.445,0.035)))
non_overlap.add(gdstk.Reference(pmos_1, (3.03,-0.135)))
non_overlap.add(gdstk.Reference(nmos_1, (3.03,-1.635)))
non_overlap.add(gdstk.Reference(nmos_1, (3.03,-1.635)))
non_overlap.add(gdstk.Reference(pmos_1, (3.03,-0.135)))
non_overlap.add(gdstk.Reference(pmos_2, (-0.445,0.035)))
non_overlap.add(gdstk.Reference(pmos_2, (-0.445,0.035)))
non_overlap.add(gdstk.Reference(nmos_2, (-0.46,-1.875)))
non_overlap.add(gdstk.Reference(pmos_2, (0.575,0.035)))
non_overlap.add(gdstk.Reference(nmos_2, (0.56,-1.875)))
non_overlap.add(gdstk.Reference(via_stack_4, (1.205,-0.31)))
non_overlap.add(gdstk.Reference(via_stack_6, (0.215,0.805)))
non_overlap.add(gdstk.Reference(via_stack_6, (1.235,0.805)))
non_overlap.add(gdstk.Reference(via_stack_7, (1.235,-0.82)))
non_overlap.add(gdstk.Reference(via_stack_7, (0.21,-0.82)))
non_overlap.add(gdstk.Reference(via_stack_6, (0.215,-1.545)))
non_overlap.add(gdstk.Reference(via_stack_5, (1.22,-1.535)))
non_overlap.add(gdstk.Reference(via_stack_4, (1.015,-2.69)))
non_overlap.add(gdstk.Reference(via_stack_5, (2.215,-0.755)))
non_overlap.add(gdstk.Reference(via_stack_5, (1.22,-3.835), x_reflection=True))
non_overlap.add(gdstk.Reference(via_stack_6, (0.215,-3.825), x_reflection=True))
non_overlap.add(gdstk.Reference(via_stack_7, (0.21,-4.55), x_reflection=True))
non_overlap.add(gdstk.Reference(via_stack_7, (1.235,-4.55), x_reflection=True))
non_overlap.add(gdstk.Reference(via_stack_6, (1.235,-6.175), x_reflection=True))
non_overlap.add(gdstk.Reference(via_stack_6, (0.215,-6.175), x_reflection=True))
non_overlap.add(gdstk.Reference(via_stack_4, (1.205,-5.06), x_reflection=True))
non_overlap.add(gdstk.Reference(nmos_2, (0.56,-3.495), x_reflection=True))
non_overlap.add(gdstk.Reference(pmos_2, (0.575,-5.405), x_reflection=True))
non_overlap.add(gdstk.Reference(nmos_2, (-0.46,-3.495), x_reflection=True))
non_overlap.add(gdstk.Reference(pmos_2, (-0.445,-5.405), x_reflection=True))
non_overlap.add(gdstk.Reference(pmos_2, (-0.445,-5.405), x_reflection=True))
non_overlap.add(gdstk.Reference(pmos_1, (3.03,-5.235), x_reflection=True))
non_overlap.add(gdstk.Reference(nmos_1, (3.03,-3.735), x_reflection=True))
non_overlap.add(gdstk.Reference(nmos_1, (3.03,-3.735), x_reflection=True))
non_overlap.add(gdstk.Reference(pmos_1, (3.03,-5.235), x_reflection=True))
non_overlap.add(gdstk.Reference(pmos_2, (-0.445,-5.405), x_reflection=True))
non_overlap.add(gdstk.Reference(pmos_2, (-0.445,-5.405), x_reflection=True))
non_overlap.add(gdstk.Reference(nmos_2, (-0.46,-3.495), x_reflection=True))
non_overlap.add(gdstk.Reference(pmos_2, (0.575,-5.405), x_reflection=True))
non_overlap.add(gdstk.Reference(nmos_2, (0.56,-3.495), x_reflection=True))
non_overlap.add(gdstk.Reference(via_stack_4, (1.205,-5.06), x_reflection=True))
non_overlap.add(gdstk.Reference(via_stack_6, (0.215,-6.175), x_reflection=True))
non_overlap.add(gdstk.Reference(via_stack_6, (1.235,-6.175), x_reflection=True))
non_overlap.add(gdstk.Reference(via_stack_7, (1.235,-4.55), x_reflection=True))
non_overlap.add(gdstk.Reference(via_stack_7, (0.21,-4.55), x_reflection=True))
non_overlap.add(gdstk.Reference(via_stack_6, (0.215,-3.825), x_reflection=True))
non_overlap.add(gdstk.Reference(via_stack_5, (1.22,-3.835), x_reflection=True))
non_overlap.add(gdstk.Reference(via_stack_5, (2.215,-4.615), x_reflection=True))
non_overlap.add(gdstk.Label('sign', (3.82,-0.76), layer=8, texttype=2))
non_overlap.add(gdstk.Label('in', (-0.39,-0.405), layer=8, texttype=2))
non_overlap.add(gdstk.Label('signb', (3.89,-4.77), layer=8, texttype=2))
non_overlap.add(gdstk.Label('inb', (-0.39,-4.955), layer=8, texttype=2))
non_overlap.add(gdstk.Label('AVSS', (0,-2.69), layer=8, texttype=2))
non_overlap.add(gdstk.Label('AVDD', (-0.39,-7.23), layer=8, texttype=2))
non_overlap.add(gdstk.Label('AVDD', (-0.39,1.845), layer=8, texttype=2))
non_overlap.add(gdstk.Label('A', (3.385,-0.635), layer=5, texttype=2))
non_overlap.add(gdstk.Label('A', (3.385,-0.635), layer=5, texttype=2))
non_overlap.add(gdstk.Label('A', (3.385,-4.735), layer=5, texttype=2))
non_overlap.add(gdstk.Label('A', (3.385,-4.735), layer=5, texttype=2))
non_overlap.add(gdstk.Label('Y', (2.045,-4.5), layer=10, texttype=2))
non_overlap.add(gdstk.Label('Y', (2.045,-4.5), layer=10, texttype=2))
non_overlap.add(gdstk.Label('b', (-0.575,-0.405), layer=10, texttype=2))
non_overlap.add(gdstk.Label('a', (-0.58,-4.955), layer=10, texttype=2))

lib.write_gds('non_overlap.gds')
